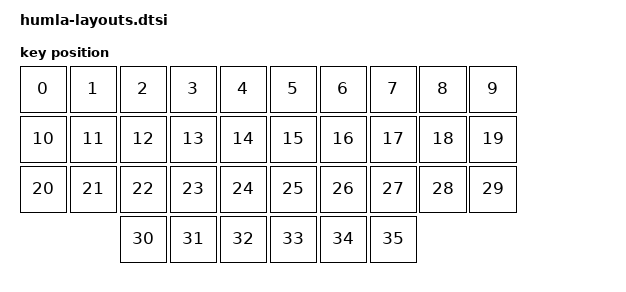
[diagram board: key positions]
// Humla physical layout for ZMK Studio
// Units are centi-keyunits: 100 = 1u
#include <physical_layouts.dtsi>

/ {
    humla_layout: humla_layout {
        compatible = "zmk,physical-layout";
        display-name = "Humla";

        // These get assigned here; chosen will select this layout.
        transform = <&default_transform>;
        kscan = <&kscan0>;

        // 10x4 matrix; last row uses only cols 2..7 (6 keys).
        // Simple ortho-ish grid: 1u keys at 100x100, origin at (0,0).
        //                     w    h    x     y   rot  rx  ry
        keys =
            // row 0 (10)
              <&key_physical_attrs 100  100    0     0    0    0   0>
            , <&key_physical_attrs 100  100  100     0    0    0   0>
            , <&key_physical_attrs 100  100  200     0    0    0   0>
            , <&key_physical_attrs 100  100  300     0    0    0   0>
            , <&key_physical_attrs 100  100  400     0    0    0   0>
            , <&key_physical_attrs 100  100  500     0    0    0   0>
            , <&key_physical_attrs 100  100  600     0    0    0   0>
            , <&key_physical_attrs 100  100  700     0    0    0   0>
            , <&key_physical_attrs 100  100  800     0    0    0   0>
            , <&key_physical_attrs 100  100  900     0    0    0   0>

            // row 1 (10)
            , <&key_physical_attrs 100  100    0   100    0    0   0>
            , <&key_physical_attrs 100  100  100   100    0    0   0>
            , <&key_physical_attrs 100  100  200   100    0    0   0>
            , <&key_physical_attrs 100  100  300   100    0    0   0>
            , <&key_physical_attrs 100  100  400   100    0    0   0>
            , <&key_physical_attrs 100  100  500   100    0    0   0>
            , <&key_physical_attrs 100  100  600   100    0    0   0>
            , <&key_physical_attrs 100  100  700   100    0    0   0>
            , <&key_physical_attrs 100  100  800   100    0    0   0>
            , <&key_physical_attrs 100  100  900   100    0    0   0>

            // row 2 (10)
            , <&key_physical_attrs 100  100    0   200    0    0   0>
            , <&key_physical_attrs 100  100  100   200    0    0   0>
            , <&key_physical_attrs 100  100  200   200    0    0   0>
            , <&key_physical_attrs 100  100  300   200    0    0   0>
            , <&key_physical_attrs 100  100  400   200    0    0   0>
            , <&key_physical_attrs 100  100  500   200    0    0   0>
            , <&key_physical_attrs 100  100  600   200    0    0   0>
            , <&key_physical_attrs 100  100  700   200    0    0   0>
            , <&key_physical_attrs 100  100  800   200    0    0   0>
            , <&key_physical_attrs 100  100  900   200    0    0   0>

            // row 3, cols 2..7 => x = 200..700 (6)
            , <&key_physical_attrs 100  100  200   300    0    0   0>
            , <&key_physical_attrs 100  100  300   300    0    0   0>
            , <&key_physical_attrs 100  100  400   300    0    0   0>
            , <&key_physical_attrs 100  100  500   300    0    0   0>
            , <&key_physical_attrs 100  100  600   300    0    0   0>
            , <&key_physical_attrs 100  100  700   300    0    0   0>
            ;
    };
};
